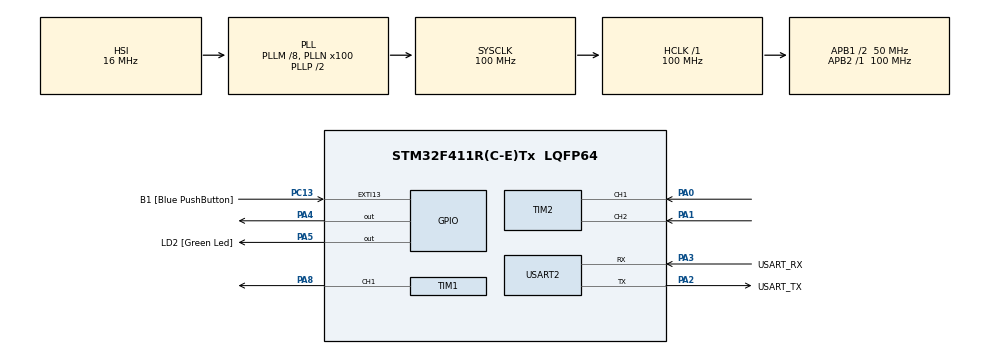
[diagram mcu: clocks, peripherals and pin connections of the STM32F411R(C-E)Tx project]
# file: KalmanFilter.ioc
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ARM.CMSIS.5.6.0.CMSISJjCORE=true
ARM.CMSIS.5.6.0.CMSISJjDSP=Library
Mcu.Family=STM32F4
Mcu.Name=STM32F411R(C-E)Tx
Mcu.Package=LQFP64
NVIC.PriorityGroup=NVIC_PRIORITYGROUP_0
NVIC.TIM3_IRQn=true\:0\:0\:false\:false\:true\:true\:true\:true
NVIC.USART2_IRQn=true\:0\:0\:false\:false\:true\:true\:true\:true
PA0-WKUP.GPIO_PuPd=GPIO_PULLUP
PA0-WKUP.Signal=S_TIM2_CH1_ETR
PA1.GPIO_PuPd=GPIO_PULLUP
PA1.Signal=S_TIM2_CH2
PA13.GPIO_Label=TMS
PA13.Mode=Serial_Wire
PA13.Signal=SYS_JTMS-SWDIO
PA14.GPIO_Label=TCK
PA14.Mode=Serial_Wire
PA14.Signal=SYS_JTCK-SWCLK
PA2.GPIO_Label=USART_TX
PA2.Mode=Asynchronous
PA2.Signal=USART2_TX
PA3.GPIO_Label=USART_RX
PA3.Mode=Asynchronous
PA3.Signal=USART2_RX
PA4.Signal=GPIO_Output
PA5.GPIO_Label=LD2 [Green Led]
PA5.GPIO_PuPd=GPIO_NOPULL
PA5.Signal=GPIO_Output
PA8.Signal=S_TIM1_CH1
PB3.GPIO_Label=SWO
PB3.Signal=SYS_JTDO-SWO
PC13-ANTI_TAMP.GPIO_Label=B1 [Blue PushButton]
PC13-ANTI_TAMP.GPIO_ModeDefaultEXTI=GPIO_MODE_IT_FALLING
PC13-ANTI_TAMP.GPIO_PuPd=GPIO_NOPULL
PC13-ANTI_TAMP.Signal=GPXTI13
PC14-OSC32_IN.Mode=LSE-External-Oscillator
PC14-OSC32_IN.Signal=RCC_OSC32_IN
PC15-OSC32_OUT.Mode=LSE-External-Oscillator
PC15-OSC32_OUT.Signal=RCC_OSC32_OUT
PH0\ -\ OSC_IN.Mode=HSE-External-Clock-Source
PH0\ -\ OSC_IN.Signal=RCC_OSC_IN
PH1\ -\ OSC_OUT.Mode=HSE-External-Clock-Source
PH1\ -\ OSC_OUT.Signal=RCC_OSC_OUT
ProjectManager.HeapSize=0x200
ProjectManager.StackSize=0x400
ProjectManager.TargetToolchain=STM32CubeIDE
RCC.48MHZClocksFreq_Value=50000000
RCC.AHBFreq_Value=100000000
RCC.APB1CLKDivider=RCC_HCLK_DIV2
RCC.APB1Freq_Value=50000000
RCC.APB1TimFreq_Value=100000000
RCC.APB2Freq_Value=100000000
RCC.APB2TimFreq_Value=100000000
RCC.CortexFreq_Value=100000000
RCC.FLatency-AdvancedSettings=FLASH_LATENCY_3
RCC.HCLKFreq_Value=100000000
RCC.HSE_VALUE=8000000
RCC.HSI_VALUE=16000000
RCC.PLLM=8
RCC.PLLN=100
RCC.SYSCLKFreq_VALUE=100000000
RCC.SYSCLKSource=RCC_SYSCLKSOURCE_PLLCLK
RCC.VCOOutputFreq_Value=200000000
SH.S_TIM1_CH1.0=TIM1_CH1,PWM Generation1 CH1
SH.S_TIM2_CH1_ETR.0=TIM2_CH1,Encoder_Interface
SH.S_TIM2_CH2.0=TIM2_CH2,Encoder_Interface
TIM1.Channel-PWM\ Generation1\ CH1=TIM_CHANNEL_1
TIM1.Period=99
TIM1.Prescaler=99
TIM2.EncoderMode=TIM_ENCODERMODE_TI12
TIM3.Period=20000-1
TIM3.Prescaler=1-1
USART2.VirtualMode=VM_ASYNC
VP_ARM.CMSIS_VS_CMSISJjCORE_5.3.0_5.6.0.Mode=CMSISJjCORE
VP_ARM.CMSIS_VS_CMSISJjDSP_1.7.0_5.6.0.Mode=CMSISJjDSP
VP_TIM1_VS_ClockSourceINT.Mode=Internal
VP_TIM3_VS_ClockSourceINT.Mode=Internal
board=NUCLEO-F411RE

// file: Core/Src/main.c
/* USER CODE BEGIN Header */
/**
  ******************************************************************************
  * @file           : main.c
  * @brief          : Main program body
  ******************************************************************************
  * @attention
  *
  * Copyright (c) 2023 STMicroelectronics.
  * All rights reserved.
  *
  * This software is licensed under terms that can be found in the LICENSE file
  * in the root directory of this software component.
  * If no LICENSE file comes with this software, it is provided AS-IS.
  *
  ******************************************************************************
  */
/* USER CODE END Header */
#include "main.h"

/* USER CODE BEGIN Includes */
#include "stdio.h"
#include "math.h"
#include "string.h"
#include "kalman.h"
/* USER CODE END Includes */

TIM_HandleTypeDef htim1;
TIM_HandleTypeDef htim2;
TIM_HandleTypeDef htim3;

UART_HandleTypeDef huart2;

/* USER CODE BEGIN PV */
char TxBuffer[50] =  "";

int32_t QEIReadRaw;
int32_t L_QEIReadRaw;
float32_t RawSpeed;
float32_t Voltage;
int PWM;
float QEIAd;
float L_QEIAd;
float kalman;
//extern float *Es_velocity;
/* USER CODE END PV */

void SystemClock_Config(void);
static void MX_GPIO_Init(void);
static void MX_USART2_UART_Init(void);
static void MX_TIM2_Init(void);
static void MX_TIM1_Init(void);
static void MX_TIM3_Init(void);
/* USER CODE BEGIN PFP */
void setMotor(int PWM);
/* USER CODE END PFP */

int main(void)
{

  /* MCU Configuration--------------------------------------------------------*/

  /* Reset of all peripherals, Initializes the Flash interface and the Systick. */
  HAL_Init();

  /* Configure the system clock */
  SystemClock_Config();

  /* Initialize all configured peripherals */
  MX_GPIO_Init();
  MX_USART2_UART_Init();
  MX_TIM2_Init();
  MX_TIM1_Init();
  MX_TIM3_Init();
  /* USER CODE BEGIN 2 */
  Kalman_Start();
  HAL_TIM_Encoder_Start(&htim2, TIM_CHANNEL_1|TIM_CHANNEL_2);

  HAL_TIM_Base_Start(&htim1); //Motor
  HAL_TIM_PWM_Start(&htim1, TIM_CHANNEL_1);

  HAL_TIM_Base_Start_IT(&htim3); //Timer Interrupt
  /* USER CODE END 2 */

  /* Infinite loop */
  /* USER CODE BEGIN WHILE */
  while (1)
  {
	  static uint32_t timestamp = 0;
	  	  if(HAL_GetTick() >= timestamp)
	  	  {
	  		timestamp = HAL_GetTick() + 500;
	  		HAL_GPIO_TogglePin(LD2_GPIO_Port,LD2_Pin);

//	  		if (huart2.gState == HAL_UART_STATE_READY)
//	  		{
//				sprintf(TxBuffer,"%.2f %.2f\r\n",RawSpeed, kalman);
//				HAL_UART_Transmit_IT(&huart2, (uint8_t *)TxBuffer, strlen(TxBuffer));
//	  		}

//	  		PWM = 100 * sin(timestamp / 1000.0);
	  	  }
    /* USER CODE END WHILE */

  }
}

void SystemClock_Config(void)
{
  RCC_OscInitTypeDef RCC_OscInitStruct = {0};
  RCC_ClkInitTypeDef RCC_ClkInitStruct = {0};

  /** Configure the main internal regulator output voltage
  */
  __HAL_RCC_PWR_CLK_ENABLE();
  __HAL_PWR_VOLTAGESCALING_CONFIG(PWR_REGULATOR_VOLTAGE_SCALE1);

  /** Initializes the RCC Oscillators according to the specified parameters
  * in the RCC_OscInitTypeDef structure.
  */
  RCC_OscInitStruct.OscillatorType = RCC_OSCILLATORTYPE_HSI;
  RCC_OscInitStruct.HSIState = RCC_HSI_ON;
  RCC_OscInitStruct.HSICalibrationValue = RCC_HSICALIBRATION_DEFAULT;
  RCC_OscInitStruct.PLL.PLLState = RCC_PLL_ON;
  RCC_OscInitStruct.PLL.PLLSource = RCC_PLLSOURCE_HSI;
  RCC_OscInitStruct.PLL.PLLM = 8;
  RCC_OscInitStruct.PLL.PLLN = 100;
  RCC_OscInitStruct.PLL.PLLP = RCC_PLLP_DIV2;
  RCC_OscInitStruct.PLL.PLLQ = 4;
  if (HAL_RCC_OscConfig(&RCC_OscInitStruct) != HAL_OK)
  {
    Error_Handler();
  }

  /** Initializes the CPU, AHB and APB buses clocks
  */
  RCC_ClkInitStruct.ClockType = RCC_CLOCKTYPE_HCLK|RCC_CLOCKTYPE_SYSCLK
                              |RCC_CLOCKTYPE_PCLK1|RCC_CLOCKTYPE_PCLK2;
  RCC_ClkInitStruct.SYSCLKSource = RCC_SYSCLKSOURCE_PLLCLK;
  RCC_ClkInitStruct.AHBCLKDivider = RCC_SYSCLK_DIV1;
  RCC_ClkInitStruct.APB1CLKDivider = RCC_HCLK_DIV2;
  RCC_ClkInitStruct.APB2CLKDivider = RCC_HCLK_DIV1;

  if (HAL_RCC_ClockConfig(&RCC_ClkInitStruct, FLASH_LATENCY_3) != HAL_OK)
  {
    Error_Handler();
  }
}

static void MX_TIM1_Init(void)
{

  TIM_ClockConfigTypeDef sClockSourceConfig = {0};
  TIM_MasterConfigTypeDef sMasterConfig = {0};
  TIM_OC_InitTypeDef sConfigOC = {0};
  TIM_BreakDeadTimeConfigTypeDef sBreakDeadTimeConfig = {0};

  htim1.Instance = TIM1;
  htim1.Init.Prescaler = 99;
  htim1.Init.CounterMode = TIM_COUNTERMODE_UP;
  htim1.Init.Period = 99;
  htim1.Init.ClockDivision = TIM_CLOCKDIVISION_DIV1;
  htim1.Init.RepetitionCounter = 0;
  htim1.Init.AutoReloadPreload = TIM_AUTORELOAD_PRELOAD_DISABLE;
  if (HAL_TIM_Base_Init(&htim1) != HAL_OK)
  {
    Error_Handler();
  }
  sClockSourceConfig.ClockSource = TIM_CLOCKSOURCE_INTERNAL;
  if (HAL_TIM_ConfigClockSource(&htim1, &sClockSourceConfig) != HAL_OK)
  {
    Error_Handler();
  }
  if (HAL_TIM_PWM_Init(&htim1) != HAL_OK)
  {
    Error_Handler();
  }
  sMasterConfig.MasterOutputTrigger = TIM_TRGO_RESET;
  sMasterConfig.MasterSlaveMode = TIM_MASTERSLAVEMODE_DISABLE;
  if (HAL_TIMEx_MasterConfigSynchronization(&htim1, &sMasterConfig) != HAL_OK)
  {
    Error_Handler();
  }
  sConfigOC.OCMode = TIM_OCMODE_PWM1;
  sConfigOC.Pulse = 0;
  sConfigOC.OCPolarity = TIM_OCPOLARITY_HIGH;
  sConfigOC.OCNPolarity = TIM_OCNPOLARITY_HIGH;
  sConfigOC.OCFastMode = TIM_OCFAST_DISABLE;
  sConfigOC.OCIdleState = TIM_OCIDLESTATE_RESET;
  sConfigOC.OCNIdleState = TIM_OCNIDLESTATE_RESET;
  if (HAL_TIM_PWM_ConfigChannel(&htim1, &sConfigOC, TIM_CHANNEL_1) != HAL_OK)
  {
    Error_Handler();
  }
  sBreakDeadTimeConfig.OffStateRunMode = TIM_OSSR_DISABLE;
  sBreakDeadTimeConfig.OffStateIDLEMode = TIM_OSSI_DISABLE;
  sBreakDeadTimeConfig.LockLevel = TIM_LOCKLEVEL_OFF;
  sBreakDeadTimeConfig.DeadTime = 0;
  sBreakDeadTimeConfig.BreakState = TIM_BREAK_DISABLE;
  sBreakDeadTimeConfig.BreakPolarity = TIM_BREAKPOLARITY_HIGH;
  sBreakDeadTimeConfig.AutomaticOutput = TIM_AUTOMATICOUTPUT_DISABLE;
  if (HAL_TIMEx_ConfigBreakDeadTime(&htim1, &sBreakDeadTimeConfig) != HAL_OK)
  {
    Error_Handler();
  }
  HAL_TIM_MspPostInit(&htim1);

}

static void MX_TIM2_Init(void)
{

  TIM_Encoder_InitTypeDef sConfig = {0};
  TIM_MasterConfigTypeDef sMasterConfig = {0};

  htim2.Instance = TIM2;
  htim2.Init.Prescaler = 0;
  htim2.Init.CounterMode = TIM_COUNTERMODE_UP;
  htim2.Init.Period = 4294967295;
  htim2.Init.ClockDivision = TIM_CLOCKDIVISION_DIV1;
  htim2.Init.AutoReloadPreload = TIM_AUTORELOAD_PRELOAD_DISABLE;
  sConfig.EncoderMode = TIM_ENCODERMODE_TI12;
  sConfig.IC1Polarity = TIM_ICPOLARITY_RISING;
  sConfig.IC1Selection = TIM_ICSELECTION_DIRECTTI;
  sConfig.IC1Prescaler = TIM_ICPSC_DIV1;
  sConfig.IC1Filter = 0;
  sConfig.IC2Polarity = TIM_ICPOLARITY_RISING;
  sConfig.IC2Selection = TIM_ICSELECTION_DIRECTTI;
  sConfig.IC2Prescaler = TIM_ICPSC_DIV1;
  sConfig.IC2Filter = 0;
  if (HAL_TIM_Encoder_Init(&htim2, &sConfig) != HAL_OK)
  {
    Error_Handler();
  }
  sMasterConfig.MasterOutputTrigger = TIM_TRGO_RESET;
  sMasterConfig.MasterSlaveMode = TIM_MASTERSLAVEMODE_DISABLE;
  if (HAL_TIMEx_MasterConfigSynchronization(&htim2, &sMasterConfig) != HAL_OK)
  {
    Error_Handler();
  }

}

static void MX_TIM3_Init(void)
{

  TIM_ClockConfigTypeDef sClockSourceConfig = {0};
  TIM_MasterConfigTypeDef sMasterConfig = {0};

  htim3.Instance = TIM3;
  htim3.Init.Prescaler = 1-1;
  htim3.Init.CounterMode = TIM_COUNTERMODE_UP;
  htim3.Init.Period = 20000-1;
  htim3.Init.ClockDivision = TIM_CLOCKDIVISION_DIV1;
  htim3.Init.AutoReloadPreload = TIM_AUTORELOAD_PRELOAD_DISABLE;
  if (HAL_TIM_Base_Init(&htim3) != HAL_OK)
  {
    Error_Handler();
  }
  sClockSourceConfig.ClockSource = TIM_CLOCKSOURCE_INTERNAL;
  if (HAL_TIM_ConfigClockSource(&htim3, &sClockSourceConfig) != HAL_OK)
  {
    Error_Handler();
  }
  sMasterConfig.MasterOutputTrigger = TIM_TRGO_RESET;
  sMasterConfig.MasterSlaveMode = TIM_MASTERSLAVEMODE_DISABLE;
  if (HAL_TIMEx_MasterConfigSynchronization(&htim3, &sMasterConfig) != HAL_OK)
  {
    Error_Handler();
  }

}

static void MX_USART2_UART_Init(void)
{

  huart2.Instance = USART2;
  huart2.Init.BaudRate = 115200;
  huart2.Init.WordLength = UART_WORDLENGTH_8B;
  huart2.Init.StopBits = UART_STOPBITS_1;
  huart2.Init.Parity = UART_PARITY_NONE;
  huart2.Init.Mode = UART_MODE_TX_RX;
  huart2.Init.HwFlowCtl = UART_HWCONTROL_NONE;
  huart2.Init.OverSampling = UART_OVERSAMPLING_16;
  if (HAL_UART_Init(&huart2) != HAL_OK)
  {
    Error_Handler();
  }

}

static void MX_GPIO_Init(void)
{
  GPIO_InitTypeDef GPIO_InitStruct = {0};

  /* GPIO Ports Clock Enable */
  __HAL_RCC_GPIOC_CLK_ENABLE();
  __HAL_RCC_GPIOH_CLK_ENABLE();
  __HAL_RCC_GPIOA_CLK_ENABLE();
  __HAL_RCC_GPIOB_CLK_ENABLE();

  /*Configure GPIO pin Output Level */
  HAL_GPIO_WritePin(GPIOA, GPIO_PIN_4|LD2_Pin, GPIO_PIN_RESET);

  /*Configure GPIO pin : B1_Pin */
  GPIO_InitStruct.Pin = B1_Pin;
  GPIO_InitStruct.Mode = GPIO_MODE_IT_FALLING;
  GPIO_InitStruct.Pull = GPIO_NOPULL;
  HAL_GPIO_Init(B1_GPIO_Port, &GPIO_InitStruct);

  /*Configure GPIO pins : PA4 LD2_Pin */
  GPIO_InitStruct.Pin = GPIO_PIN_4|LD2_Pin;
  GPIO_InitStruct.Mode = GPIO_MODE_OUTPUT_PP;
  GPIO_InitStruct.Pull = GPIO_NOPULL;
  GPIO_InitStruct.Speed = GPIO_SPEED_FREQ_LOW;
  HAL_GPIO_Init(GPIOA, &GPIO_InitStruct);

}

/* USER CODE BEGIN 4 */
void setMotor(int PWM){
	if(PWM >= 0){
		__HAL_TIM_SET_COMPARE(&htim1,TIM_CHANNEL_1,PWM);
		HAL_GPIO_WritePin(GPIOA, GPIO_PIN_4, 0);
	}
	else if (PWM < 0){
		__HAL_TIM_SET_COMPARE(&htim1,TIM_CHANNEL_1,abs(PWM));
		HAL_GPIO_WritePin(GPIOA, GPIO_PIN_4, 1);
	}
}

void HAL_TIM_PeriodElapsedCallback(TIM_HandleTypeDef *htim){
	if(htim == &htim3){
		 QEIReadRaw = __HAL_TIM_GET_COUNTER(&htim2);
//		 RawSpeed = (QEIReadRaw - L_QEIReadRaw)*1000.0*2.0*M_PI/280.0;
		 L_QEIReadRaw = QEIReadRaw;
		 QEIAd = (QEIReadRaw*2.0*M_PI/280.0);
		 RawSpeed = (QEIAd - L_QEIAd)*5000.0;
		 PWM = 100 * sin(HAL_GetTick()/1000.0);
		 setMotor(PWM);
		 Voltage = 12.0*PWM/100.0;
		 kalman = SteadyStateKalmanFilter(Voltage ,QEIAd);
		if (huart2.gState == HAL_UART_STATE_READY)
		{
			sprintf(TxBuffer,"%.2f %.2f\r\n",kalman,RawSpeed);
			HAL_UART_Transmit_IT(&huart2, (uint8_t *)TxBuffer, strlen(TxBuffer));
		}

	  	 L_QEIAd = QEIAd;
	}
}

/* USER CODE END 4 */

void Error_Handler(void)
{
  __disable_irq();
  while (1)
  {
  }
}
